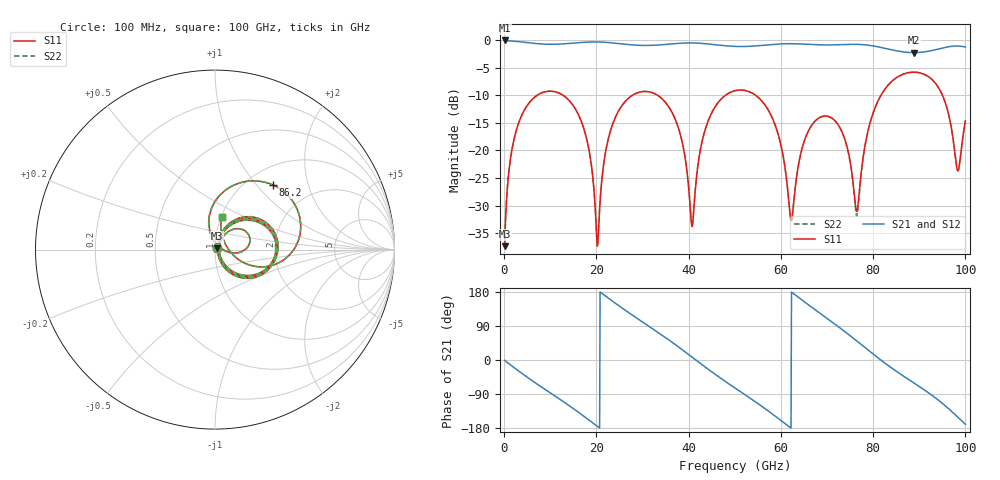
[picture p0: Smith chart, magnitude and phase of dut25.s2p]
! Touchstone file exported from HFSS 2026.1.0
!  File:  C:/ffzhzh/LocalFiles/Ansys_Project_Files/temp_train_TSV_RDL_25_1783439816_34316.aedt
!  Generated:  12:06:55 AM Jul  8, 2026
!  Design:  TSV_RDL
!  Project:  temp_train_TSV_RDL_25_1783439816_34316
! Variables:
!  h_bsmrdl = 2.91um
!  h_ox = 20um
!  h_rdl = 5um
!  h_sub = 82.86um
!  h_tmrdl = 4.43um
!  h_tsv = 82.86um
!  h_via = 3um
!  l_bsmrdl = 200.43um
!  l_sub = 2760.01um
!  l_tmrdl = 409.74um
!  m_sub = 200um
!  pitch = 40.88um
!  r_tsv = 10.61um
!  s_tmrdl = 10um
!  w_bsmrdl = 14.98um
!  w_sub = 500um
!  w_tmrdl = 24.94um
!  x_tsv_center1 = 422.21um
!  x_tsv_center2 = 637.62um
!  x_tsv_center3 = 1072.3um
!  x_tsv_center4 = 1287.71um
!  x_tsv_center5 = 1722.39um
!  x_tsv_center6 = 1937.8um
# GHz S MA R 50.000000
! Terminal data exported
! Port[1] = TM_RDL1_1_T1
! Port[2] = TM_RDL5_1_T1
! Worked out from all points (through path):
!   1000 points, 100 MHz to 100 GHz, reference 50 ohm
!   highest |S21| = -0.10 dB at 100 MHz (marker M1); lowest = -2.3 dB at 88.8 GHz (marker M2)
!   group delay of S21, straight-line fit = 24.5 ps
!   lowest |S11| = -37.3 dB at 100 MHz (marker M3), VSWR 1.03, Z = 51.2 + j0.701 ohm
!   |S11| at or under -10 dB: 12.73 GHz to 27.84 GHz (15.11 GHz wide, 74.5 % of centre); 33.22 GHz to 48.02 GHz (14.8 GHz wide, 36.4 % of centre); 54.49 GHz to 81.71 GHz (27.22 GHz wide, 40 % of centre) (the widest 3 of 5)
!   |S22| runs from -37.3 to -5.8 dB; largest |S21 - S12| = 2.6e-13
!   S11 on the Smith chart (normalised r, x): 100 MHz: 1.02, +0.01; 86.2 GHz: 1.30, +1.23; 100 GHz: 1.01, +0.38
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0.1  0.01363 30.1  0.9883 -1.0  0.9883 -1.0  0.01363 30.1
! Gamma 0 0 0 0
! Port Impedance 50 0 50 0
1.8  0.108 64.2  0.9775 -16.9  0.9775 -16.9  0.108 64.2
5.1  0.2588 39.1  0.9436 -46.3  0.9436 -46.3  0.2588 39.1
16.8  0.1799 -53.0  0.9486 -144.0  0.9486 -144.0  0.18 -52.9
20.2  0.01365 -3.8  0.9582 -175.0  0.9582 -175.0  0.01417 -3.6
24.3  0.2072 52.9  0.9313 148.1  0.9313 148.1  0.2072 52.7
33.4  0.3128 -17.6  0.8991 72.7  0.8991 72.7  0.3128 -17.7
38  0.1489 -52.0  0.9321 32.7  0.9321 32.7  0.149 -51.9
40.7  0.02056 -0.8  0.9391 7.9  0.9391 7.9  0.02118 -0.5
44  0.1742 60.2  0.9209 -22.3  0.9209 -22.3  0.1745 59.8
50.1  0.3474 13.9  0.873 -74.3  0.873 -74.3  0.3477 13.6
58  0.2023 -46.5  0.9083 -141.1  0.9083 -141.1  0.2026 -46.8
62.2  0.02335 -5.8  0.924 -179.8  0.924 -179.8  0.02322 -6.9
66.7  0.1695 43.6  0.908 139.1  0.908 139.1  0.1693 43.2
72.8  0.1606 -1.5  0.9052 84.7  0.9052 84.7  0.1605 -2.3
76.5  0.02812 52.4  0.9111 49.8  0.9111 49.8  0.02564 52.2
83.4  0.3965 69.6  0.8238 -15.8  0.8238 -15.8  0.3959 69.7
86.2  0.4838 48.1  0.7823 -39.5  0.7823 -39.5  0.4833 48.1
88.8  0.5107 29.0  0.7673 -60.3  0.7673 -60.3  0.5102 29.0
94.8  0.3313 -15.3  0.8391 -112.3  0.8391 -112.3  0.3309 -15.4
98.3  0.06598 20.5  0.8802 -150.1  0.8802 -150.1  0.06567 20.6
100  0.185 78.6  0.8619 -169.7  0.8619 -169.7  0.1851 78.6
